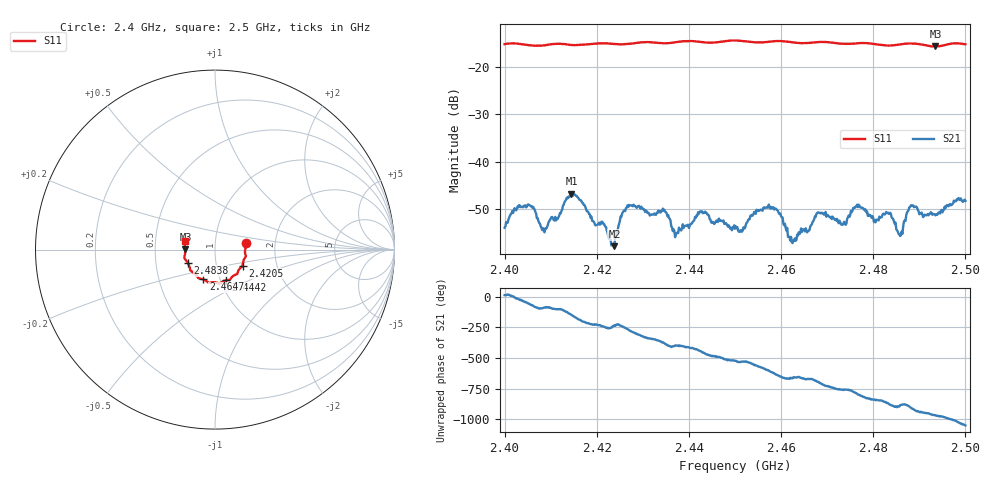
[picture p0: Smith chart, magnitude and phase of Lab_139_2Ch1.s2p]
# Hz S RI R 50
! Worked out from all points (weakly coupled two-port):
!   601 points, 2.4 GHz to 2.5 GHz, reference 50 ohm
!   highest |S21| = -46.71 dB at 2.4145 GHz (marker M1); lowest = -57.8 dB at 2.4238 GHz (marker M2)
!   lowest |S11| = -15.7 dB at 2.4935 GHz (marker M3), VSWR 1.39, Z = 35.9 + j0.0953 ohm
!   |S11| at or under -10 dB: start of sweep to end of sweep
!   S12 and S22 are empty: the file has one direction only
!   S11 on the Smith chart (normalised r, x): 2.4 GHz: 1.40, +0.11; 2.4205 GHz: 1.34, -0.25; 2.4442 GHz: 1.06, -0.37; 2.4647 GHz: 0.83, -0.29; 2.4838 GHz: 0.73, -0.11; 2.5 GHz: 0.71, +0.07
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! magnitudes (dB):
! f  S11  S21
! 2.4 GHz  -15.2  -53.9
! 2.4053 GHz  -15.4  -49.1
! 2.4087 GHz  -15.4  -54.9
! 2.4145 GHz  -15.4  -46.7
! 2.4167 GHz  -15.3  -48.2
! 2.4205 GHz  -15.0  -52.8
! 2.4238 GHz  -15.1  -57.8
! 2.4268 GHz  -15.1  -49.5
! 2.4333 GHz  -14.9  -50.3
! 2.4372 GHz  -14.8  -55.3
! 2.4442 GHz  -14.9  -51.1
! 2.45 GHz  -14.4  -54.1
! 2.4573 GHz  -14.7  -49.0
! 2.4623 GHz  -14.8  -56.9
! 2.4647 GHz  -15.0  -54.3
! 2.4667 GHz  -14.8  -53.2
! 2.4833 GHz  -15.5  -50.8
! 2.4838 GHz  -15.5  -51.0
! 2.4858 GHz  -15.2  -55.6
! 2.4882 GHz  -15.0  -49.2
! 2.4935 GHz  -15.7  -51.3
! 2.5 GHz  -15.2  -48.2
